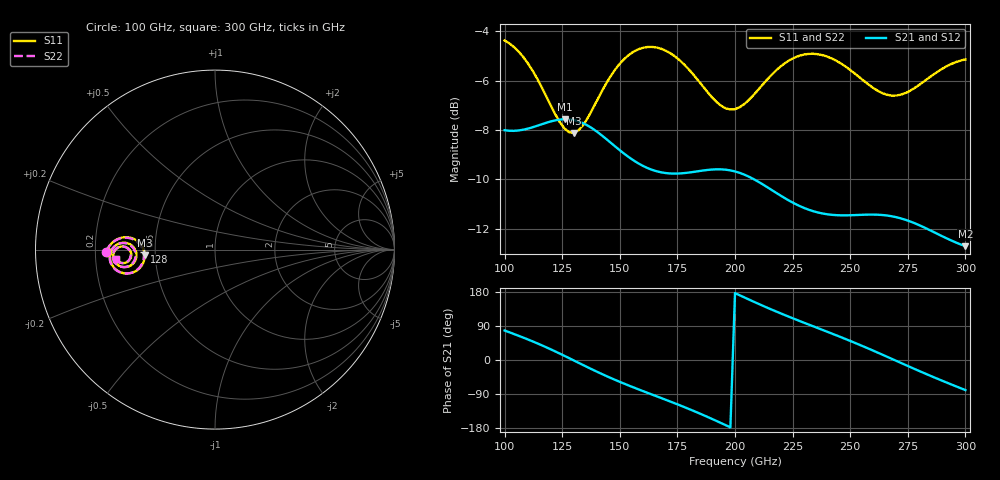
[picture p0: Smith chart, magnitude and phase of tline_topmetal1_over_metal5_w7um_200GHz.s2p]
#  GHZ S DB R 50
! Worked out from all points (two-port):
!   101 points, 100 GHz to 300 GHz, reference 50 ohm
!   highest |S21| = -7.56 dB at 126 GHz (marker M1); lowest = -12.7 dB at 300 GHz (marker M2)
!   |S21| within 3 dB of the highest: start of sweep to 218.2 GHz
!   lowest |S11| = -8.1 dB at 130 GHz (marker M3), VSWR 2.29, Z = 21.8 - j1.68 ohm
!   |S11| at or under -10 dB: nowhere
!   |S22| runs from -8.0 to -4.3 dB; largest |S21 - S12| = 7.3e-14
!   S11 on the Smith chart (normalised r, x): 100 GHz: 0.25, -0.01; 128 GHz: 0.43, -0.01; 300 GHz: 0.29, -0.04
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100  -4.37 -179.0  -8.01 77.8  -8.01 77.8  -4.35 -178.7
114  -5.90 172.2  -7.83 44.4  -7.83 44.4  -5.85 172.5
126  -7.94 178.7  -7.56 10.9  -7.56 10.9  -7.85 179.0
128  -8.09 -178.4  -7.57 4.9  -7.57 4.9  -7.99 -178.2
130  -8.12 -175.2  -7.60 -1.1  -7.60 -1.1  -8.02 -175.1
134  -7.81 -169.5  -7.72 -13.1  -7.72 -13.1  -7.72 -169.5
142  -6.47 -164.4  -8.20 -36.3  -8.20 -36.3  -6.41 -164.5
150  -5.31 -166.6  -8.82 -57.7  -8.82 -57.7  -5.27 -166.6
160  -4.67 -173.0  -9.45 -81.9  -9.45 -81.9  -4.63 -172.9
168  -4.71 -178.3  -9.71 -100.5  -9.71 -100.5  -4.67 -178.2
184  -5.99 175.6  -9.67 -139.5  -9.67 -139.5  -5.92 175.9
192  -6.87 178.3  -9.59 -160.9  -9.59 -160.9  -6.77 178.5
200  -7.15 -175.2  -9.68 176.6  -9.68 176.6  -7.05 -175.2
208  -6.59 -169.9  -9.98 154.2  -9.98 154.2  -6.50 -170.0
216  -5.75 -169.1  -10.43 132.8  -10.43 132.8  -5.69 -169.2
224  -5.15 -171.5  -10.88 112.7  -10.88 112.7  -5.10 -171.6
234  -4.91 -176.2  -11.29 88.8  -11.29 88.8  -4.87 -176.2
250  -5.57 178.2  -11.45 50.3  -11.45 50.3  -5.52 178.3
260  -6.30 179.1  -11.42 24.7  -11.42 24.7  -6.24 179.2
268  -6.61 -177.2  -11.49 3.2  -11.49 3.2  -6.55 -177.2
284  -5.90 -171.6  -12.03 -39.6  -12.03 -39.6  -5.85 -171.7
300  -5.14 -174.8  -12.70 -79.3  -12.70 -79.3  -5.10 -174.8
